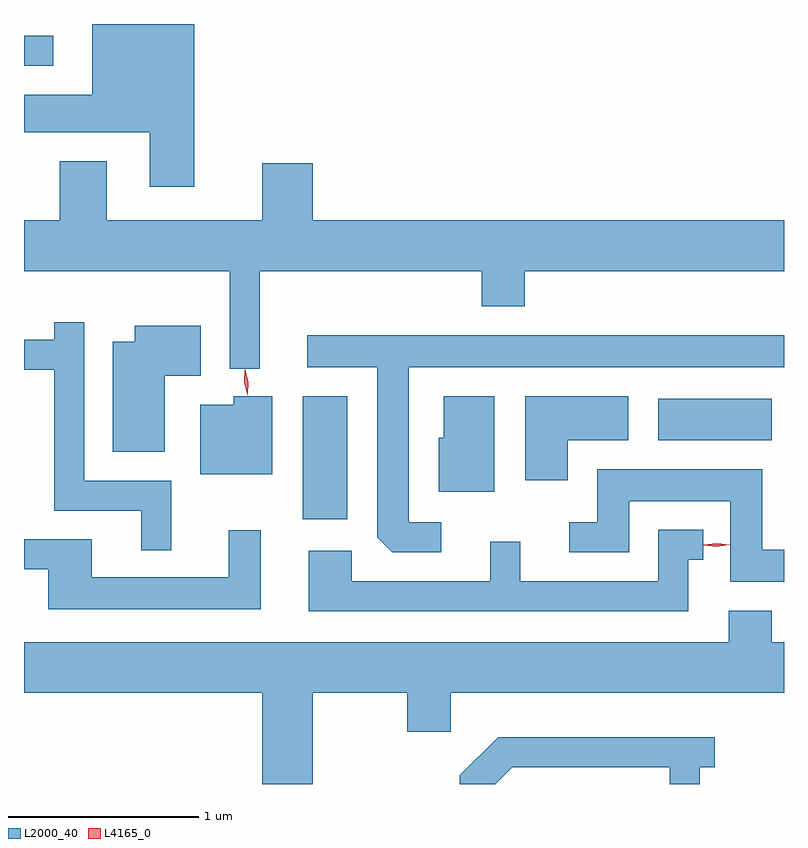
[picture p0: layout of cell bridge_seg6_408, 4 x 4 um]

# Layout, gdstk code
import gdstk
lib = gdstk.Library(unit=1e-6, precision=1e-09)
def R(c, l, rs):  # rectangles x0, y0, x1, y1
    for r in rs: c.add(gdstk.rectangle(r[:2], r[2:], *l))
def P(c, l, *ps):  # polygons
    for p in ps: c.add(gdstk.Polygon(p, *l))
L2000_40 = (2000, 40)
L4165_0 = (4165, 0)

bridge_seg6_408 = lib.new_cell('bridge_seg6_408')
R(bridge_seg6_408, L2000_40, [(894.611,1608.671,894.844,1609.319), (896.481,1609.086,897.079,1609.304), (893.143,1611.056,893.298,1611.214)])
P(bridge_seg6_408, L2000_40, [(894.039,1611.277),(893.501,1611.277),(893.501,1610.904),(893.143,1610.904),(893.143,1610.706),(893.806,1610.706),(893.806,1610.421),(894.039,1610.421)],
  [(894.384,1609.976),(895.551,1609.976),(895.551,1609.791),(895.779,1609.791),(895.779,1609.976),(897.143,1609.976),(897.143,1610.244),(894.664,1610.244),(894.664,1610.544),(894.396,1610.544),(894.396,1610.244),(893.579,1610.244),(893.579,1610.554),(893.331,1610.554),(893.331,1610.244),(893.143,1610.244),(893.143,1609.976),(894.226,1609.976),(894.226,1609.463),(894.384,1609.463)],
  [(893.919,1608.874),(893.459,1608.874),(893.459,1609.708),(893.301,1609.708),(893.301,1609.614),(893.143,1609.614),(893.143,1609.456),(893.301,1609.456),(893.301,1608.716),(893.761,1608.716),(893.761,1608.508),(893.919,1608.508)],
  [(893.884,1609.426),(894.074,1609.426),(894.074,1609.689),(893.726,1609.689),(893.726,1609.604),(893.611,1609.604),(893.611,1609.026),(893.884,1609.026)],
  [(895.338,1608.654),(895.169,1608.654),(895.169,1609.471),(897.143,1609.471),(897.143,1609.639),(894.633,1609.639),(894.633,1609.471),(895.001,1609.471),(895.001,1608.577),(895.082,1608.496),(895.338,1608.496)],
  [(895.619,1609.319),(895.351,1609.319),(895.351,1609.099),(895.326,1609.099),(895.326,1608.816),(895.619,1608.816)],
  [(896.004,1609.086),(896.324,1609.086),(896.324,1609.319),(895.781,1609.319),(895.781,1608.876),(896.004,1608.876)],
  [(894.449,1609.319),(894.246,1609.319),(894.246,1609.274),(894.071,1609.274),(894.071,1608.906),(894.449,1608.906)],
  [(897.143,1608.509),(897.029,1608.509),(897.029,1608.934),(896.161,1608.934),(896.161,1608.654),(896.013,1608.654),(896.013,1608.496),(896.329,1608.496),(896.329,1608.766),(896.861,1608.766),(896.861,1608.341),(897.143,1608.341)],
  [(896.639,1608.456),(896.718,1608.456),(896.718,1608.614),(896.481,1608.614),(896.481,1608.344),(895.754,1608.344),(895.754,1608.553),(895.596,1608.553),(895.596,1608.344),(894.869,1608.344),(894.869,1608.504),(894.641,1608.504),(894.641,1608.186),(896.639,1608.186)],
  [(894.389,1608.613),(894.221,1608.613),(894.221,1608.364),(893.499,1608.364),(893.499,1608.564),(893.143,1608.564),(893.143,1608.406),(893.271,1608.406),(893.271,1608.196),(894.389,1608.196)],
  [(894.664,1607.756),(895.161,1607.756),(895.161,1607.551),(895.389,1607.551),(895.389,1607.756),(897.143,1607.756),(897.143,1608.024),(897.079,1608.024),(897.079,1608.189),(896.851,1608.189),(896.851,1608.024),(893.143,1608.024),(893.143,1607.756),(894.396,1607.756),(894.396,1607.277),(894.664,1607.277)],
  [(895.712,1607.366),(896.541,1607.366),(896.541,1607.277),(896.699,1607.277),(896.699,1607.366),(896.778,1607.366),(896.778,1607.524),(895.639,1607.524),(895.436,1607.322),(895.436,1607.277),(895.622,1607.277)])
P(bridge_seg6_408, L4165_0, [(896.788,1608.525),(896.719,1608.534),(896.719,1608.535),(896.719,1608.535),(896.788,1608.545),(896.858,1608.536),(896.858,1608.535),(896.858,1608.535)],
  [(894.32,1609.324),(894.32,1609.324),(894.303,1609.389),(894.306,1609.456),(894.307,1609.457),(894.307,1609.456),(894.323,1609.391),(894.32,1609.324)])

lib.write_gds('bridge_seg6_408.gds')
